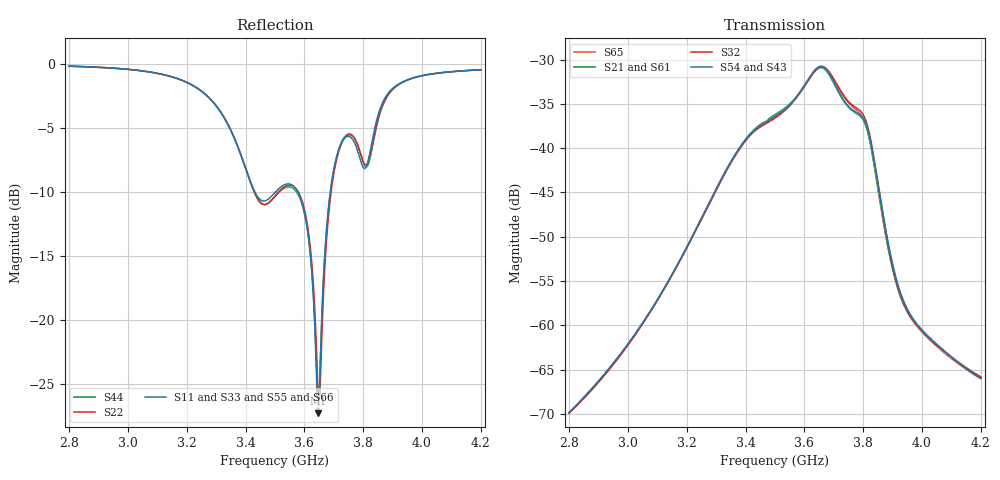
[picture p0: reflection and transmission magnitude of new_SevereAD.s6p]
! Touchstone file exported from HFSS 2024.2.0
!  File:  D:/Jatin/new.aedt
!  Generated:  04:51:28 PM Sep 30, 2026
!  Design:  SevereAD
!  Project:  new
!  Setup:  Setup1
!  Solution:  Sweep
! Variables:
!  $L = 85mm
!  $W = 35mm
!  H = 1.575mm
!  L = 42mm
!  W = 35mm
!  Wb = 6mm
!  a = 3.5mm
!  ant_dist = 115mm
!  ant_gap = 3mm
!  b = 5mm
!  c = 5mm
!  d = 2mm
!  g1 = 2mm
!  g2 = 2mm
!  g3 = 1mm
!  g4 = 2mm
!  gap = 10mm
!  r1 = 3.5mm
!  r2 = 6mm
!  r_brain = 95mm
!  r_brain_ad = 61.68mm
!  r_csf = 95.5mm
!  r_csf_expanded = 64.6mm
!  r_csf_inner = 61.68mm
!  r_csf_outer = 83.5mm
!  r_fat = 87.5mm
!  r_gray = 70.55mm
!  r_gray_severe = 62.25mm
!  r_hippo_severe = 7.5mm
!  r_skin = 88mm
!  r_skull = 86.5mm
!  r_white = 17.5mm
!  r_white_severe = 57mm
!  slot_distance = 15mm
!  wc = 12mm
!  y1 = 15mm
!  y2 = 5mm
!  y4 = 11mm
!  z_ebg = -94.575mm
! Terminal data exported
! Port[1] = FEED_3_T4
! Port[2] = FEED_3_T3
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# GHz S MA R 50.000000
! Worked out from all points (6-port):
!   281 points, 2.8 GHz to 4.2 GHz, reference 50 ohm
!   strongest paths, dB at 2.8 GHz, 3.15 GHz, 3.5 GHz, 3.85 GHz, 4.2 GHz:
!     S54: -69.8, -54.3, -36.4, -44.0, -66.0
!     S43: -69.8, -54.3, -36.2, -43.9, -65.9
!     S32: -69.9, -54.3, -36.6, -43.9, -65.8
!     S21: -69.9, -54.3, -36.2, -44.5, -65.9
!     S65: -69.9, -54.3, -36.5, -44.6, -66.0
!     S61: -69.9, -54.3, -36.4, -44.7, -65.8
!   lowest |S11| = -27.3 dB at 3.645 GHz (marker M1), VSWR 1.09, Z = 46.1 - j1.52 ohm
!   |S11| at or under -10 dB: 3.432 GHz to 3.502 GHz (70.12 MHz wide, 2.02 % of centre); 3.577 GHz to 3.688 GHz (110.5 MHz wide, 3.04 % of centre)
